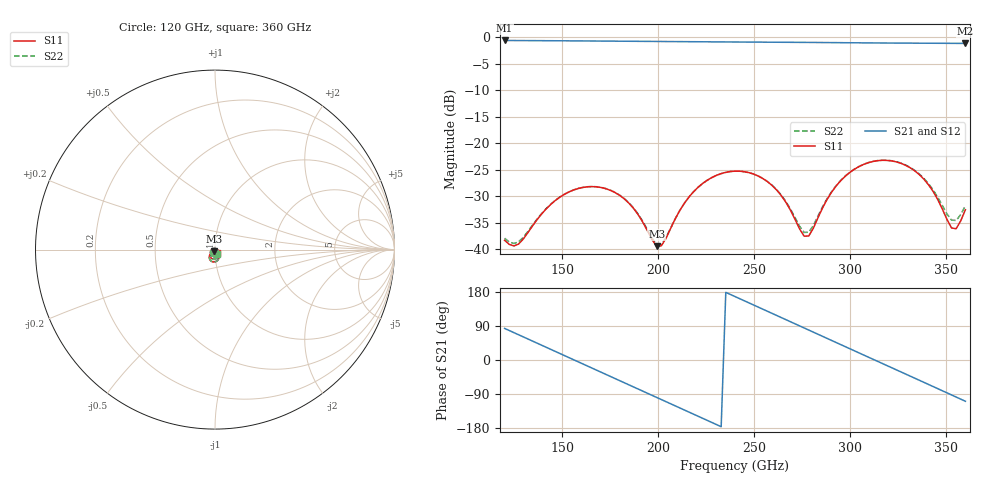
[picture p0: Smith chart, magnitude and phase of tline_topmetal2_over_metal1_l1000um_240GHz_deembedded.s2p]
! Created with skrf 2.2.0 (http://scikit-rf.org).
# GHz S DB R 50.0
! Port[1] = P1
! Port[2] = P2
!freq dBS11 angS11 dBS21 angS21 dBS12 angS12 dBS22 angS22
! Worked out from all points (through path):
!   101 points, 120 GHz to 360 GHz, reference 50 ohm
!   highest |S21| = -0.58 dB at 120 GHz (marker M1); lowest = -1.1 dB at 360 GHz (marker M2)
!   group delay of S21, straight-line fit = 6.39 ps
!   lowest |S11| = -39.4 dB at 199.2 GHz (marker M3), VSWR 1.02, Z = 49.7 - j1.03 ohm
!   |S11| at or under -10 dB: start of sweep to end of sweep
!   |S22| runs from -39.0 to -23.2 dB; largest |S21 - S12| = 1e-13
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120  -38.27 -114.9  -0.58 83.4  -0.58 83.4  -37.88 -114.1
127.2  -39.00 -85.8  -0.59 66.8  -0.59 66.8  -38.58 -87.1
141.6  -32.36 -68.0  -0.62 33.7  -0.62 33.7  -32.31 -69.3
151.2  -29.59 -79.6  -0.64 11.6  -0.64 11.6  -29.57 -80.2
160.8  -28.30 -95.1  -0.67 -10.5  -0.67 -10.5  -28.28 -95.4
170.4  -28.32 -111.6  -0.69 -32.6  -0.69 -32.6  -28.30 -111.6
182.4  -30.48 -129.9  -0.72 -60.2  -0.72 -60.2  -30.42 -129.5
199.2  -39.38 -105.7  -0.76 -98.8  -0.76 -98.8  -39.04 -106.0
201.6  -39.32 -86.6  -0.77 -104.3  -0.77 -104.3  -39.03 -87.7
213.6  -31.30 -57.2  -0.80 -131.9  -0.80 -131.9  -31.30 -57.8
223.2  -27.53 -68.7  -0.83 -154.0  -0.83 -154.0  -27.55 -68.7
240  -25.23 -98.2  -0.87 167.4  -0.87 167.4  -25.24 -97.6
249.6  -25.77 -115.4  -0.89 145.4  -0.89 145.4  -25.76 -114.4
261.6  -28.75 -133.1  -0.91 117.8  -0.91 117.8  -28.68 -131.3
276  -37.49 -106.1  -0.94 84.6  -0.94 84.6  -36.78 -104.6
280.8  -36.00 -68.9  -0.95 73.5  -0.95 73.5  -35.48 -70.7
290.4  -29.15 -55.4  -0.98 51.4  -0.98 51.4  -29.05 -56.5
302.4  -24.82 -71.0  -1.02 23.8  -1.02 23.8  -24.79 -71.0
321.6  -23.30 -105.4  -1.07 -20.4  -1.07 -20.4  -23.26 -104.3
338.4  -26.75 -132.1  -1.09 -59.0  -1.09 -59.0  -26.60 -129.2
352.8  -35.95 -106.8  -1.12 -92.2  -1.12 -92.2  -34.47 -104.1
360  -32.51 -56.8  -1.14 -108.9  -1.14 -108.9  -31.74 -62.1
